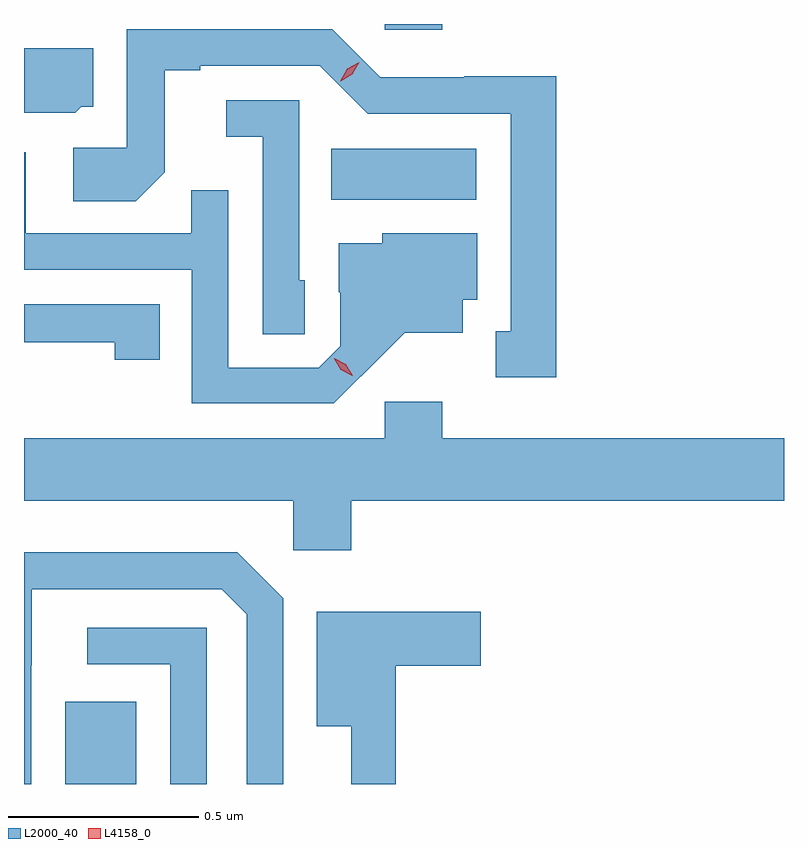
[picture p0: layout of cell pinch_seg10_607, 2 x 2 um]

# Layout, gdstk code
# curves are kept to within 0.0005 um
import gdstk
lib = gdstk.Library(unit=1e-6, precision=1e-09)
def R(c, l, rs):  # rectangles x0, y0, x1, y1
    for r in rs: c.add(gdstk.rectangle(r[:2], r[2:], *l))
def P(c, l, *ps):  # polygons
    for p in ps: c.add(gdstk.Polygon(p, *l))
L2000_40 = (2000, 40)
L4158_0 = (4158, 0)

pinch_seg10_607 = lib.new_cell('pinch_seg10_607')
R(pinch_seg10_607, L2000_40, [(383.087,1256.946,383.275,1257.163), (383.788,1258.484,384.169,1258.618), (383.928,1258.931,384.08,1258.946)])
P(pinch_seg10_607, L2000_40, [(384.379,1258.808),(384.138,1258.808),(384.138,1258.806),(383.916,1258.806),(383.79,1258.932),(383.25,1258.932),(383.25,1258.62),(383.109,1258.62),(383.109,1258.48),(383.273,1258.48),(383.349,1258.556),(383.349,1258.824),(383.443,1258.824),(383.443,1258.836),(383.757,1258.836),(383.883,1258.71),(384.26,1258.71),(384.26,1258.137),(384.221,1258.137),(384.221,1258.017),(384.379,1258.017)],
  [(383.13,1258.728),(383.161,1258.728),(383.161,1258.882),(382.979,1258.882),(382.979,1258.713),(382.98,1258.713),(382.98,1258.712),(383.114,1258.712)],
  [(383.718,1258.272),(383.703,1258.272),(383.703,1258.746),(383.511,1258.746),(383.511,1258.649),(383.607,1258.649),(383.607,1258.129),(383.718,1258.129)],
  [(383.851,1258.005),(383.981,1258.133),(384.133,1258.133),(384.133,1258.22),(384.172,1258.22),(384.172,1258.396),(383.922,1258.396),(383.922,1258.369),(383.807,1258.369),(383.807,1258.24),(383.811,1258.24),(383.811,1258.098),(383.754,1258.041),(383.517,1258.041),(383.517,1258.508),(383.419,1258.508),(383.419,1258.395),(382.983,1258.395),(382.983,1258.609),(382.979,1258.609),(382.979,1258.299),(383.421,1258.299),(383.421,1257.948),(383.794,1257.948)],
  [(383.336,1258.209),(382.979,1258.209),(382.979,1258.108),(383.218,1258.108),(383.218,1258.062),(383.336,1258.062)],
  [(383.84,1257.692),(384.979,1257.692),(384.979,1257.856),(384.08,1257.856),(384.08,1257.952),(383.928,1257.952),(383.928,1257.856),(382.979,1257.856),(382.979,1257.692),(383.688,1257.692),(383.688,1257.561),(383.84,1257.561)],
  [(382.998,1257.259),(382.999,1257.259),(382.999,1257.459),(383.499,1257.459),(383.565,1257.393),(383.565,1256.946),(383.661,1256.946),(383.661,1257.435),(383.54,1257.556),(382.979,1257.556),(382.979,1256.946),(382.998,1256.946)],
  [(383.957,1257.257),(384.181,1257.257),(384.181,1257.399),(383.75,1257.399),(383.75,1257.098),(383.84,1257.098),(383.84,1256.946),(383.957,1256.946)],
  [(383.46,1257.357),(383.145,1257.357),(383.145,1257.261),(383.364,1257.261),(383.364,1256.946),(383.46,1256.946)])
P(pinch_seg10_607, L4158_0, [(383.811,1258.795),(383.811,1258.795),(383.829,1258.828),(383.861,1258.846),(383.861,1258.846),(383.861,1258.846),(383.843,1258.814),(383.812,1258.795)],
  [(383.843,1258.021),(383.813,1258.036),(383.795,1258.065),(383.795,1258.066),(383.796,1258.066),(383.826,1258.051),(383.844,1258.021),(383.844,1258.021)])

lib.write_gds('pinch_seg10_607.gds')
